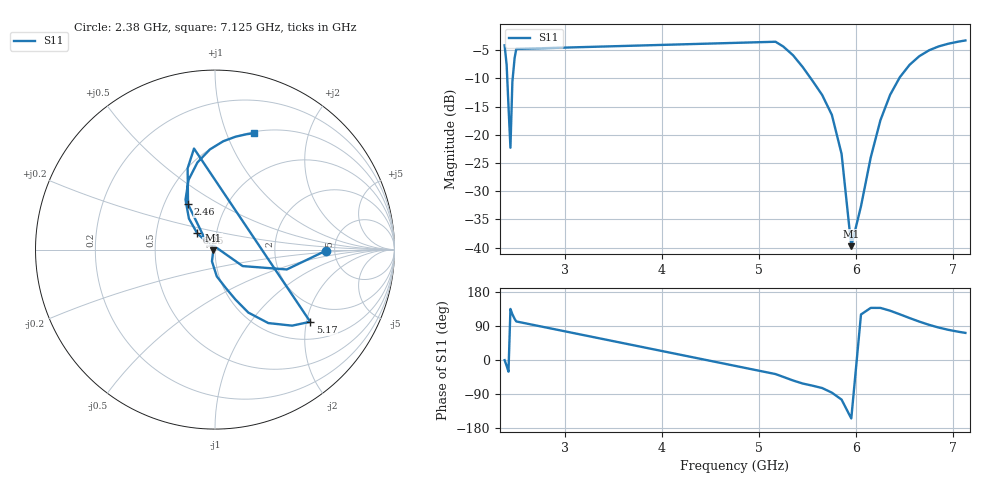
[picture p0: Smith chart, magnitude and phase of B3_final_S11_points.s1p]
! Generated by Hertzon (EMerge FEM)
# HZ S RI R 50
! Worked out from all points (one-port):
!   28 points, 2.38 GHz to 7.125 GHz, reference 50 ohm
!   lowest |S11| = -39.7 dB at 5.95 GHz (marker M1), VSWR 1.02, Z = 49.1 - j0.439 ohm
!   |S11| at or under -10 dB: 2.407 GHz to 2.463 GHz (56.27 MHz wide, 2.31 % of centre); 5.532 GHz to 6.444 GHz (912 MHz wide, 15.2 % of centre)
!   S11 on the Smith chart (normalised r, x): 2.38 GHz: 4.25, -0.07; 2.46 GHz: 0.66, +0.36; 5.17 GHz: 1.46, -2.10; 6.25 GHz: 0.81, +0.15; 7.125 GHz: 0.52, +1.25
2.38e9  0.6193 -0.00543
2.401e9  0.3999 -0.1107
2.42e9  0.154 -0.0918
2.44e9  -0.054 0.0545
2.46e9  -0.1503 0.253
2.483e9  -0.1525 0.4528
2.5e9  -0.117 0.563
5.17e9  0.5305 -0.4021
5.25e9  0.4298 -0.4238
5.35e9  0.2969 -0.4094
5.45e9  0.1858 -0.351
5.55e9  0.114 -0.2783
5.65e9  0.0621 -0.2163
5.75e9  0.01 -0.1495
5.85e9  -0.017 -0.0655
5.95e9  -0.0093 -0.00447
6.05e9  -0.0117 0.0201
6.15e9  -0.0463 0.0425
6.25e9  -0.0991 0.0909
6.35e9  -0.1453 0.1727
6.45e9  -0.1643 0.2782
6.55e9  -0.1472 0.3888
6.65e9  -0.0976 0.486
6.75e9  -0.0282 0.5582
6.85e9  0.0463 0.6039
6.95e9  0.1155 0.6294
7.05e9  0.1761 0.6428
7.125e9  0.2167 0.6483
